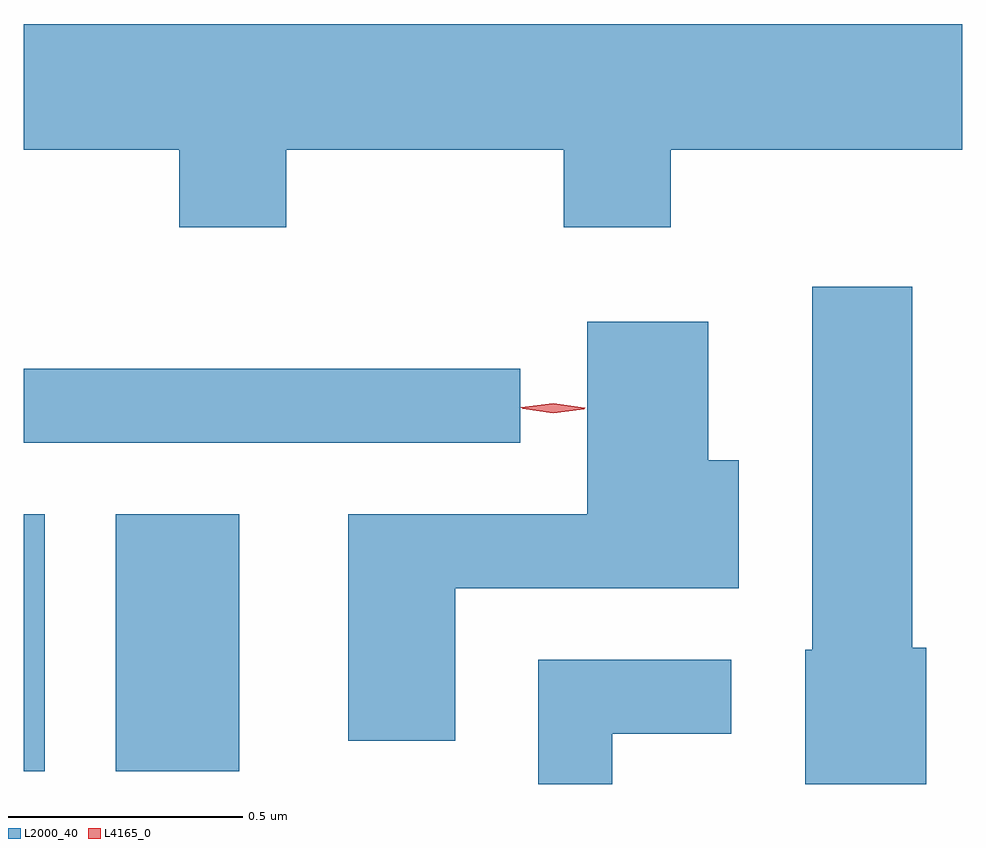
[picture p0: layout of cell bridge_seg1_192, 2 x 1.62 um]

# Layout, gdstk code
import gdstk
lib = gdstk.Library(unit=1e-6, precision=1e-09)
def R(c, l, rs):  # rectangles x0, y0, x1, y1
    for r in rs: c.add(gdstk.rectangle(r[:2], r[2:], *l))
def P(c, l, *ps):  # polygons
    for p in ps: c.add(gdstk.Polygon(p, *l))
L2000_40 = (2000, 40)
L4165_0 = (4165, 0)

bridge_seg1_192 = lib.new_cell('bridge_seg1_192')
R(bridge_seg1_192, L2000_40, [(822.25,927.111,822.294,927.659), (822.446,927.111,822.709,927.659), (822.25,927.811,823.308,927.969)])
P(bridge_seg1_192, L2000_40, [(822.809,928.436),(823.401,928.436),(823.401,928.271),(823.629,928.271),(823.629,928.436),(824.25,928.436),(824.25,928.704),(822.25,928.704),(822.25,928.436),(822.581,928.436),(822.581,928.271),(822.809,928.271)],
  [(824.174,927.374),(824.144,927.374),(824.144,928.144),(823.931,928.144),(823.931,927.37),(823.916,927.37),(823.916,927.084),(824.174,927.084)],
  [(823.169,927.501),(823.774,927.501),(823.774,927.774),(823.709,927.774),(823.709,928.069),(823.451,928.069),(823.451,927.659),(822.941,927.659),(822.941,927.176),(823.169,927.176)],
  [(823.504,927.191),(823.758,927.191),(823.758,927.349),(823.346,927.349),(823.346,927.084),(823.504,927.084)])
P(bridge_seg1_192, L4165_0, [(823.378,927.874),(823.313,927.884),(823.312,927.884),(823.313,927.885),(823.378,927.894),(823.444,927.884),(823.444,927.884),(823.444,927.883)],
  [(823.378,927.876),(823.31,927.886),(823.309,927.887),(823.31,927.887),(823.378,927.896),(823.446,927.886),(823.447,927.886),(823.446,927.885)])

lib.write_gds('bridge_seg1_192.gds')
